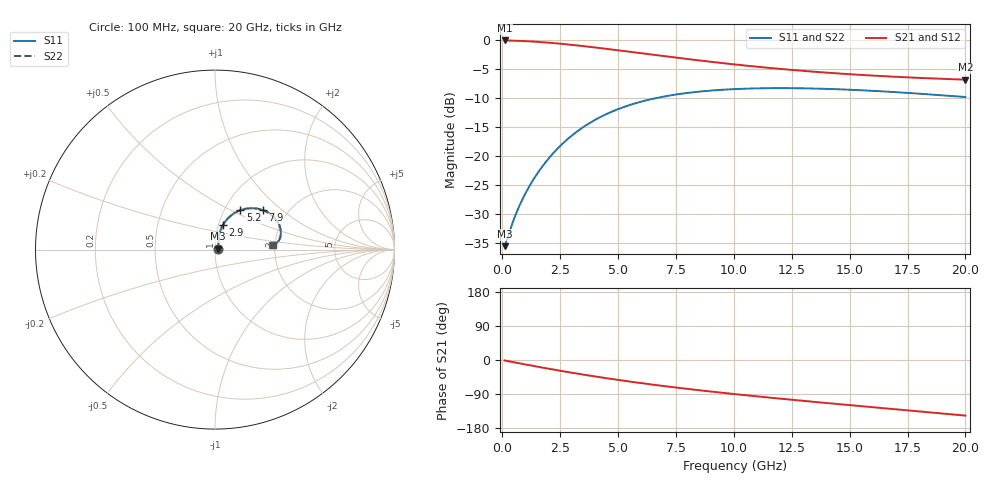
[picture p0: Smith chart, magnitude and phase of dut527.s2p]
! Touchstone file exported from HFSS 2024.1.0
!  File:  C:/UserFiles/LocalFiles/RDL_TSV_Batchsim/temp_RDL_TSV_527_1779743585.aedt
!  Generated:  05:31:05 AM May 26, 2026
!  Design:  RDL_TSV
!  Project:  temp_RDL_TSV_527_1779743585
!  Setup:  Setup1
!  Solution:  Sweep
! Variables:
!  dtsv = 5.16um
!  hbump = 3um
!  htsv = 66.06um
!  ldown = 343.71um
!  lrdl = 260.78um
!  p = 40
!  p1 = 45.08um
!  rhole = 10um
!  subl = 2074.25um
!  t = 450um
!  tdown = 4.01um
!  trdl = 2.44um
!  viad = 10um
!  wdown = 11.1um
!  wrdl = 25.92um
!  xbump = 18um
# GHz S MA R 50.000000
! Terminal data exported
! Port[1] = TM1_1_T1
! Port[2] = TM1_4_T1
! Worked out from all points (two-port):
!   200 points, 100 MHz to 20 GHz, reference 50 ohm
!   highest |S21| = -0.14 dB at 100 MHz (marker M1); lowest = -6.9 dB at 20 GHz (marker M2)
!   |S21| within 3 dB of the highest: start of sweep to 7.602 GHz
!   lowest |S11| = -35.5 dB at 100 MHz (marker M3), VSWR 1.03, Z = 51.6 + j0.493 ohm
!   |S11| at or under -10 dB: start of sweep to 6.708 GHz
!   |S22| runs from -35.5 to -8.3 dB; largest |S21 - S12| = 1.8e-14
!   S11 on the Smith chart (normalised r, x): 100 MHz: 1.03, +0.01; 2.9 GHz: 1.05, +0.29; 5.2 GHz: 1.19, +0.56; 7.9 GHz: 1.51, +0.75; 20 GHz: 1.94, +0.11
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0.1  0.01675 16.6  0.9838 -1.2  0.9838 -1.2  0.01675 16.6
! Gamma 0 0 0 0
! Port Impedance 50 0 50 0
0.4  0.02507 46.3  0.981 -4.8  0.981 -4.8  0.02507 46.3
0.6  0.03206 55.7  0.9781 -7.2  0.9781 -7.2  0.03206 55.7
0.9  0.04353 64.3  0.9728 -10.7  0.9728 -10.7  0.04353 64.3
1.2  0.0562 69.3  0.966 -14.1  0.966 -14.1  0.0562 69.3
1.6  0.07478 72.8  0.9548 -18.6  0.9548 -18.6  0.07478 72.8
2  0.09499 74.0  0.9416 -23.0  0.9416 -23.0  0.095 74.1
2.4  0.1164 73.8  0.9266 -27.3  0.9266 -27.3  0.1164 73.8
2.9  0.144 72.1  0.9061 -32.6  0.9061 -32.6  0.144 72.1
3.5  0.1771 68.9  0.8796 -38.6  0.8796 -38.6  0.1772 68.9
4.3  0.2192 63.6  0.8428 -46.2  0.8428 -46.2  0.2193 63.6
5.2  0.2613 57.1  0.8008 -54.3  0.8008 -54.3  0.2614 57.2
6  0.2929 51.5  0.7643 -61.0  0.7643 -61.0  0.2931 51.5
6.8  0.3189 46.1  0.7294 -67.4  0.7294 -67.4  0.3191 46.1
7.9  0.3461 39.3  0.6849 -75.6  0.6849 -75.6  0.3463 39.3
9  0.3646 33.3  0.645 -83.2  0.645 -83.2  0.3649 33.3
10.1  0.376 27.9  0.6099 -90.4  0.6099 -90.4  0.3764 27.9
11.7  0.3827 21.2  0.5671 -100.2  0.5671 -100.2  0.3831 21.2
13.4  0.38 15.4  0.5309 -110.1  0.5309 -110.1  0.3805 15.4
15  0.3709 11.1  0.5042 -119.1  0.5042 -119.1  0.3715 11.1
16.7  0.3564 7.6  0.4822 -128.5  0.4822 -128.5  0.357 7.6
20  0.321 4.6  0.4528 -146.7  0.4528 -146.7  0.3218 4.6
